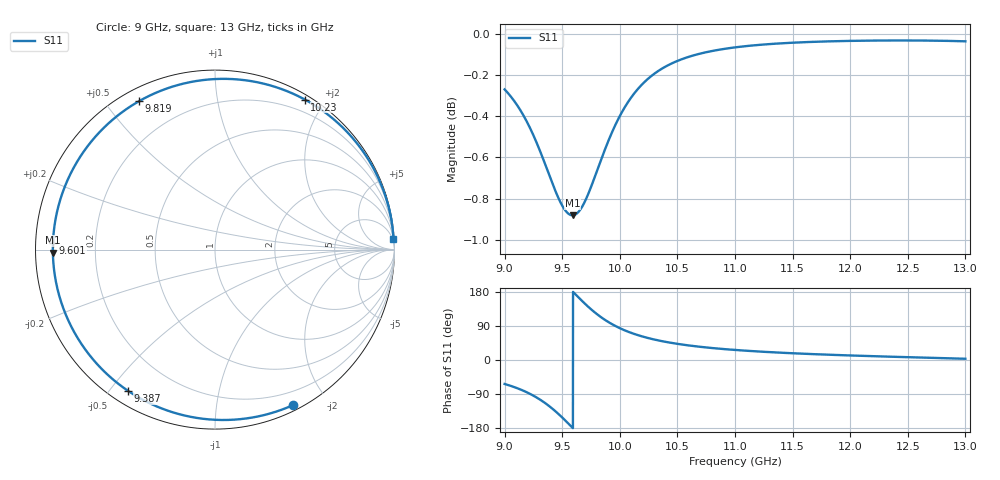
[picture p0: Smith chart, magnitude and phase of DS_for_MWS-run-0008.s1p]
! TOUCHSTONE file generated by CST DESIGN STUDIO
! Date and time: Tue Feb  4 13:32:37 2025
! Project name: C:\Work\MatlabApps\UnitCellOptimizationMatlab\CST\unitcell.cst
! Tree item: Tasks\Sweep1\SPara1\S-Parameters
! Header version: 2024
! Port assignment regex: !\s*Touchstone port\s*([0-9]+)\s*=\s*(CST MWS port|CST DES external port|CST DES block port)\s*(.+)\s* \(\"(.*)\"\)(\s*mode\s*([0-9]+))?.*
! Touchstone port assignment:
! Touchstone port 1 = CST DES external port 1 ("")
# GHz S MA R 50
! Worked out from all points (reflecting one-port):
!   4001 points, 9 GHz to 13 GHz, reference 50 ohm
!   lowest |S11| = -0.9 dB at 9.59 GHz (marker M1), VSWR 19.72, Z = 2.54 - j0.448 ohm
!   phase of S11 starts at -63 deg and turns -293 deg over the sweep
!   S11 on the Smith chart (normalised r, x): 9 GHz: 0.06, -1.62; 9.387 GHz: 0.05, -0.56; 9.601 GHz: 0.05, +0.02; 9.819 GHz: 0.05, +0.61; 10.23 GHz: 0.05, +1.76; 13 GHz: 3, +35
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9  0.9695 -63.3
9.048  0.966 -67.8
9.117  0.9602 -75.3
9.236  0.9467 -91.8
9.316  0.9353 -106.2
9.387  0.9241 -121.6
9.443  0.9156 -135.7
9.5  0.9084 -151.7
9.546  0.9047 -165.4
9.59  0.9035 -179.0
9.601  0.9036 177.6
9.657  0.9064 160.4
9.718  0.9132 142.7
9.768  0.9207 129.3
9.819  0.929 117.0
9.859  0.9355 108.4
9.902  0.9421 100.0
10  0.9551 84.0
10.11  0.966 70.4
10.231  0.9745 59.1
10.355  0.9804 50.4
10.5  0.985 42.6
10.72  0.9894 34.1
11  0.9925 26.5
11.5  0.9951 17.8
12  0.9961 12.0
12.5  0.9964 7.4
13  0.9959 3.3
